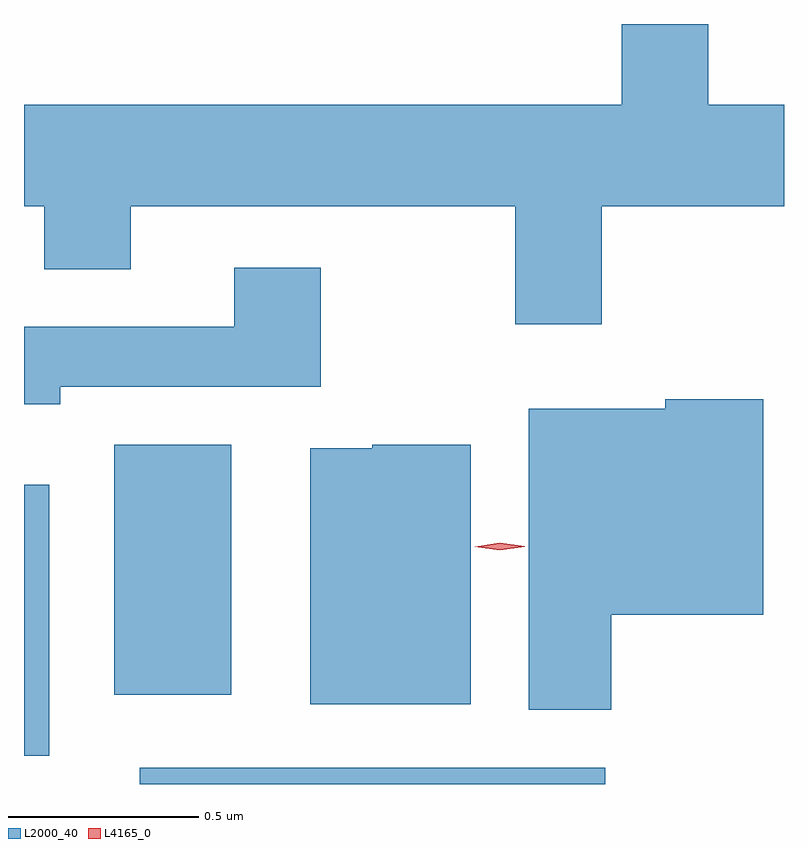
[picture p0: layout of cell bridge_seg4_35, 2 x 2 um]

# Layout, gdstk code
import gdstk
lib = gdstk.Library(unit=1e-6, precision=1e-09)
def R(c, l, rs):  # rectangles x0, y0, x1, y1
    for r in rs: c.add(gdstk.rectangle(r[:2], r[2:], *l))
def P(c, l, *ps):  # polygons
    for p in ps: c.add(gdstk.Polygon(p, *l))
L2000_40 = (2000, 40)
L4165_0 = (4165, 0)

bridge_seg4_35 = lib.new_cell('bridge_seg4_35')
R(bridge_seg4_35, L2000_40, [(1259.503,1290.996,1260.728,1291.039), (1259.198,1291.071,1259.264,1291.784), (1259.436,1291.231,1259.744,1291.889)])
P(bridge_seg4_35, L2000_40, [(1260.719,1292.516),(1261.198,1292.516),(1261.198,1292.784),(1260.999,1292.784),(1260.999,1292.996),(1260.771,1292.996),(1260.771,1292.784),(1259.198,1292.784),(1259.198,1292.516),(1259.251,1292.516),(1259.251,1292.351),(1259.479,1292.351),(1259.479,1292.516),(1260.491,1292.516),(1260.491,1292.206),(1260.719,1292.206)],
  [(1259.294,1292.041),(1259.979,1292.041),(1259.979,1292.354),(1259.751,1292.354),(1259.751,1292.199),(1259.198,1292.199),(1259.198,1291.996),(1259.294,1291.996)],
  [(1260.744,1291.441),(1261.144,1291.441),(1261.144,1292.009),(1260.886,1292.009),(1260.886,1291.984),(1260.526,1291.984),(1260.526,1291.191),(1260.744,1291.191)],
  [(1260.374,1291.889),(1260.115,1291.889),(1260.115,1291.879),(1259.951,1291.879),(1259.951,1291.206),(1260.374,1291.206)])
P(bridge_seg4_35, L4165_0, [(1260.45,1291.611),(1260.384,1291.62),(1260.384,1291.62),(1260.384,1291.621),(1260.45,1291.631),(1260.516,1291.622),(1260.516,1291.622),(1260.516,1291.621)])

lib.write_gds('bridge_seg4_35.gds')
